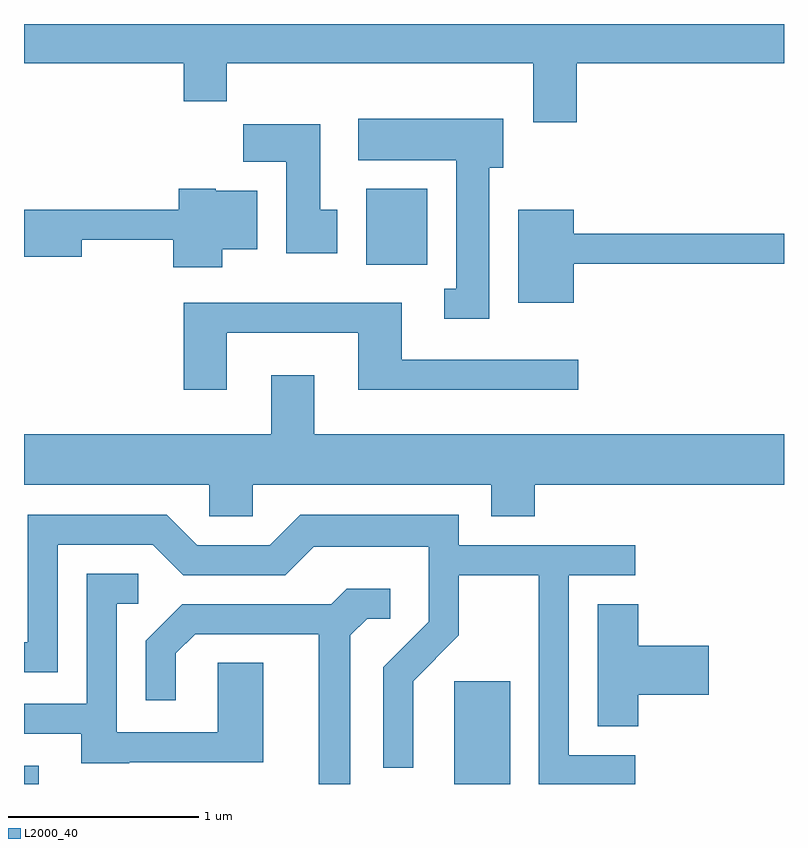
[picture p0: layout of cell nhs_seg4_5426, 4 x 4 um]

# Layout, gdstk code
import gdstk
lib = gdstk.Library(unit=1e-6, precision=1e-09)
def R(c, l, rs):  # rectangles x0, y0, x1, y1
    for r in rs: c.add(gdstk.rectangle(r[:2], r[2:], *l))
def P(c, l, *ps):  # polygons
    for p in ps: c.add(gdstk.Polygon(p, *l))
L2000_40 = (2000, 40)

nhs_seg4_5426 = lib.new_cell('nhs_seg4_5426')
R(nhs_seg4_5426, L2000_40, [(343.611,1361.982,343.689,1362.079), (345.876,1361.982,346.169,1362.524), (345.411,1364.716,345.734,1365.114)])
P(nhs_seg4_5426, L2000_40, [(346.519,1365.776),(347.611,1365.776),(347.611,1365.982),(343.611,1365.982),(343.611,1365.776),(344.451,1365.776),(344.451,1365.576),(344.679,1365.576),(344.679,1365.776),(346.291,1365.776),(346.291,1365.466),(346.519,1365.466)],
  [(346.059,1365.226),(346.134,1365.226),(346.134,1365.484),(345.371,1365.484),(345.371,1365.266),(345.886,1365.266),(345.886,1364.589),(345.823,1364.589),(345.823,1364.431),(346.059,1364.431)],
  [(345.259,1365.004),(345.169,1365.004),(345.169,1365.454),(344.766,1365.454),(344.766,1365.256),(344.991,1365.256),(344.991,1364.776),(345.259,1364.776)],
  [(344.654,1364.796),(344.839,1364.796),(344.839,1365.104),(344.62,1365.104),(344.62,1365.114),(344.426,1365.114),(344.426,1365.004),(343.611,1365.004),(343.611,1364.756),(343.914,1364.756),(343.914,1364.846),(344.396,1364.846),(344.396,1364.701),(344.654,1364.701)],
  [(346.504,1364.721),(347.611,1364.721),(347.611,1364.879),(346.504,1364.879),(346.504,1365.004),(346.211,1365.004),(346.211,1364.516),(346.504,1364.516)],
  [(344.679,1364.356),(345.371,1364.356),(345.371,1364.056),(346.528,1364.056),(346.528,1364.214),(345.599,1364.214),(345.599,1364.514),(344.451,1364.514),(344.451,1364.056),(344.679,1364.056)],
  [(344.814,1363.556),(346.071,1363.556),(346.071,1363.391),(346.299,1363.391),(346.299,1363.556),(347.611,1363.556),(347.611,1363.824),(345.139,1363.824),(345.139,1364.134),(344.911,1364.134),(344.911,1363.824),(343.611,1363.824),(343.611,1363.556),(344.586,1363.556),(344.586,1363.391),(344.814,1363.391)],
  [(346.828,1362.134),(346.479,1362.134),(346.479,1363.081),(346.828,1363.081),(346.828,1363.239),(345.899,1363.239),(345.899,1363.399),(345.064,1363.399),(344.904,1363.239),(344.522,1363.239),(344.362,1363.399),(343.631,1363.399),(343.631,1362.729),(343.611,1362.729),(343.611,1362.571),(343.789,1362.571),(343.789,1363.241),(344.289,1363.241),(344.449,1363.081),(344.987,1363.081),(345.137,1363.231),(345.741,1363.231),(345.741,1362.837),(345.501,1362.597),(345.501,1362.068),(345.659,1362.068),(345.659,1362.524),(345.899,1362.764),(345.899,1363.081),(346.321,1363.081),(346.321,1361.982),(346.828,1361.982)],
  [(344.165,1362.096),(344.869,1362.096),(344.869,1362.619),(344.631,1362.619),(344.631,1362.254),(344.099,1362.254),(344.099,1362.931),(344.213,1362.931),(344.213,1363.089),(343.941,1363.089),(343.941,1362.404),(343.611,1362.404),(343.611,1362.246),(343.911,1362.246),(343.911,1362.091),(344.165,1362.091)],
  [(345.329,1362.764),(345.417,1362.851),(345.538,1362.851),(345.538,1363.009),(345.309,1363.009),(345.229,1362.929),(344.444,1362.929),(344.251,1362.737),(344.251,1362.423),(344.409,1362.423),(344.409,1362.669),(344.512,1362.771),(345.161,1362.771),(345.161,1361.982),(345.329,1361.982)],
  [(346.844,1362.451),(347.214,1362.451),(347.214,1362.709),(346.844,1362.709),(346.844,1362.929),(346.631,1362.929),(346.631,1362.286),(346.844,1362.286)])

lib.write_gds('nhs_seg4_5426.gds')
